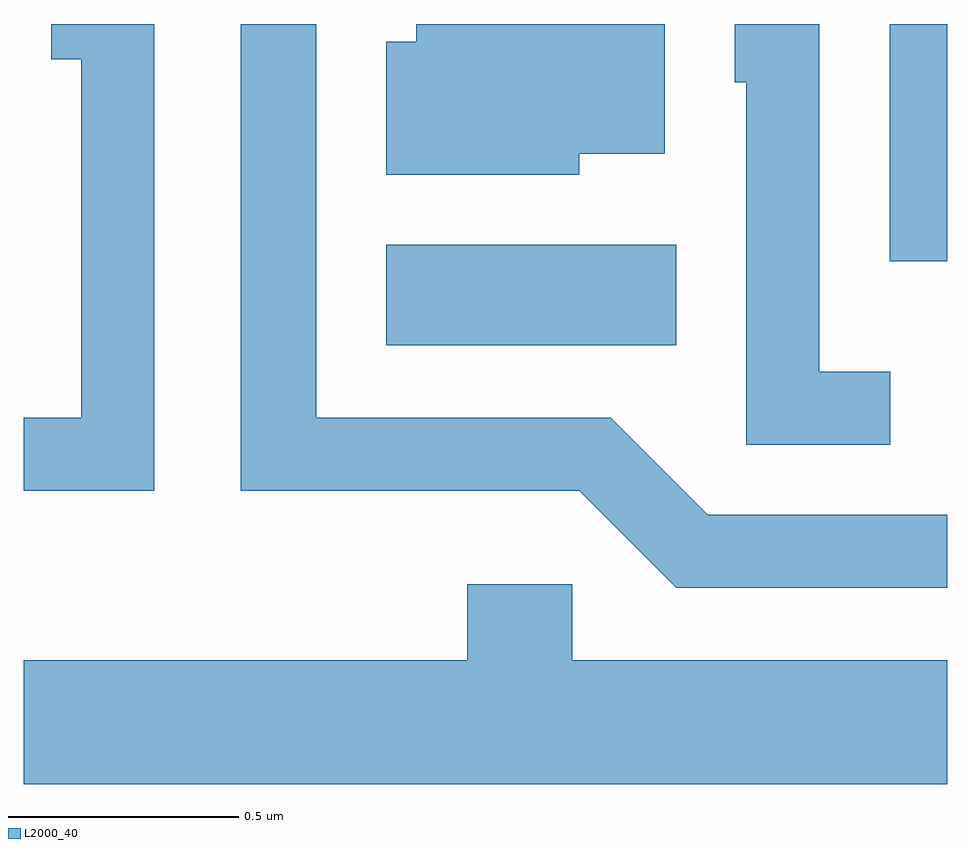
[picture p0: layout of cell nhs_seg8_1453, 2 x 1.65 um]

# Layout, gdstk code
import gdstk
lib = gdstk.Library(unit=1e-6, precision=1e-09)
def R(c, l, rs):  # rectangles x0, y0, x1, y1
    for r in rs: c.add(gdstk.rectangle(r[:2], r[2:], *l))
def P(c, l, *ps):  # polygons
    for p in ps: c.add(gdstk.Polygon(p, *l))
L2000_40 = (2000, 40)

nhs_seg8_1453 = lib.new_cell('nhs_seg8_1453')
R(nhs_seg8_1453, L2000_40, [(196.396,1890.646,197.024,1890.864), (197.486,1890.828,197.611,1891.342)])
P(nhs_seg8_1453, L2000_40, [(197.611,1890.279),(197.092,1890.279),(196.882,1890.489),(196.244,1890.489),(196.244,1891.342),(196.081,1891.342),(196.081,1890.331),(196.814,1890.331),(197.024,1890.121),(197.611,1890.121)],
  [(196.814,1891.061),(196.999,1891.061),(196.999,1891.342),(196.461,1891.342),(196.461,1891.304),(196.396,1891.304),(196.396,1891.016),(196.814,1891.016)],
  [(197.488,1890.589),(197.334,1890.589),(197.334,1891.342),(197.151,1891.342),(197.151,1891.216),(197.176,1891.216),(197.176,1890.431),(197.488,1890.431)],
  [(195.894,1891.342),(195.671,1891.342),(195.671,1891.266),(195.736,1891.266),(195.736,1890.489),(195.611,1890.489),(195.611,1890.331),(195.894,1890.331)],
  [(197.611,1889.964),(196.799,1889.964),(196.799,1890.129),(196.571,1890.129),(196.571,1889.964),(195.611,1889.964),(195.611,1889.696),(197.611,1889.696)])

lib.write_gds('nhs_seg8_1453.gds')
